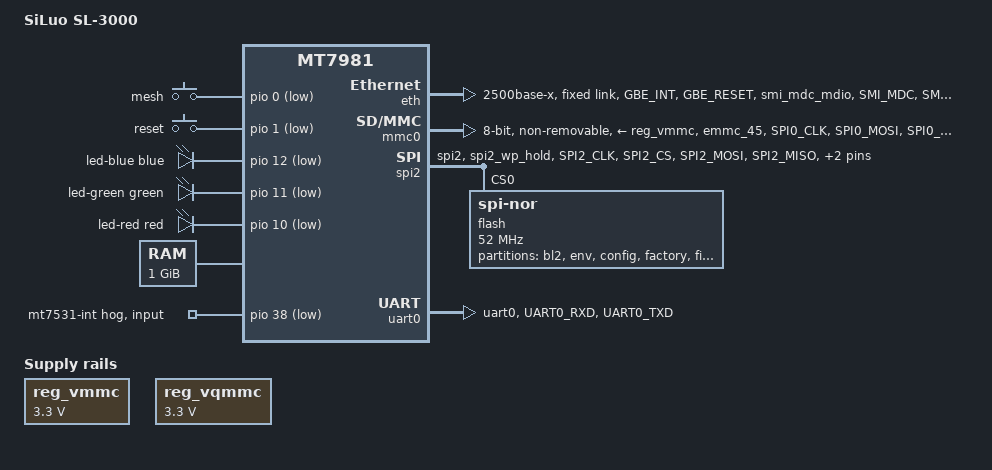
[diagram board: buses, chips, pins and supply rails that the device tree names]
// SPDX-License-Identifier: GPL-2.0-or-later OR MIT

/dts-v1/;

#include <dt-bindings/gpio/gpio.h>
#include <dt-bindings/input/input.h>
#include <dt-bindings/leds/common.h>
#include <dt-bindings/pinctrl/mt65xx.h>

#include "mt7981.dtsi"

/ {
	compatible = "siluo,sl-3000", "mediatek,mt7981";
	model = "SiLuo SL-3000";

	aliases {
		serial0 = &uart0;
	};

	chosen {
		stdout-path = "serial0:115200n8";
		tick-timer = &timer0;
	};

	gpio-keys {
		compatible = "gpio-keys";
		pinctrl-names = "default";
		pinctrl-0 = <&keys_pins>;

		button-mesh {
			label = "mesh";
			linux,code = <KEY_WPS_BUTTON>;
			gpios = <&pio 0 GPIO_ACTIVE_LOW>;
		};

		button-reset {
			label = "reset";
			linux,code = <KEY_RESTART>;
			gpios = <&pio 1 GPIO_ACTIVE_LOW>;
		};
	};

	gpio-leds {
		compatible = "gpio-leds";
		pinctrl-names = "default";
		pinctrl-0 = <&leds_pins>;

		led-blue {
			color = <LED_COLOR_ID_BLUE>;
			function = LED_FUNCTION_STATUS;
			gpios = <&pio 12 GPIO_ACTIVE_LOW>;
			default-state = "off";
		};

		led-green {
			color = <LED_COLOR_ID_GREEN>;
			function = LED_FUNCTION_STATUS;
			gpios = <&pio 11 GPIO_ACTIVE_LOW>;
			default-state = "on";
		};

		led-red {
			color = <LED_COLOR_ID_RED>;
			function = LED_FUNCTION_STATUS;
			gpios = <&pio 10 GPIO_ACTIVE_LOW>;
			default-state = "off";
		};
	};

	memory@40000000 {
		reg = <0x40000000 0x40000000>;
		device_type = "memory";
	};

	options {
		u-boot {
			compatible = "u-boot,config";
			boot-btn1 = "mesh";
			boot-btn2 = "reset";
			boot-led1 = "green:status";
			boot-led2 = "red:status";
			bootcmd_1-1 = "tftp_boot_ik";
			bootcmd_1-2 = "tftp_update_fw";
			bootcmd_1-3 = "switch_console";
			bootcmd_1-4 = "env init";
			bootcmd_2-1 = "tftp_boot_ik";
			bootcmd_2-2 = "tftp_update_fw";
			bootcmd_2-3 = "switch_console";
			bootcmd_2-4 = "switch_bootdev";
		};
	};

	reg_vmmc: regulator-vmmc {
		compatible = "regulator-fixed";
		regulator-always-on;
		regulator-max-microvolt = <3300000>;
		regulator-min-microvolt = <3300000>;
		regulator-name = "mmc_power";
	};

	reg_vqmmc: regulator-vqmmc {
		compatible = "regulator-fixed";
		regulator-always-on;
		regulator-max-microvolt = <3300000>;
		regulator-min-microvolt = <3300000>;
		regulator-name = "mmc_io";
	};

	reserved-memory {
		#address-cells = <1>;
		#size-cells = <1>;
		ranges;

		ramoops@42ff0000 {
			compatible = "ramoops";
			reg = <0x42ff0000 0x00010000>;
			console-size = <0x8000>;
			record-size = <0x2000>;
		};

		secmon@43000000 {
			reg = <0x43000000 0x00030000>;
			no-map;
		};
	};
};

&eth {
	mediatek,gmac-id = <0>;
	mediatek,switch = "mt7531";
	phy-mode = "2500base-x";
	pinctrl-names = "default";
	pinctrl-0 = <&gbe_pins>, <&mdio_pins>;
	reset-gpios = <&pio 39 GPIO_ACTIVE_HIGH>;
	status = "okay";

	fixed-link {
		speed = <2500>;
		full-duplex;
	};
};

&mmc0 {
	bus-width = <8>;
	cap-mmc-highspeed;
	max-frequency = <52000000>;
	no-1-8-v;
	no-sd;
	no-sdio;
	non-removable;
	pinctrl-names = "default";
	pinctrl-0 = <&mmc_pins>;
	vmmc-supply = <&reg_vmmc>;
	vqmmc-supply = <&reg_vqmmc>;
	status = "okay";
};

&pio {
	gbe_pins: gbe-pins {
		conf-int {
			bias-disable;
			input-enable;
			input-schmitt-enable;
			drive-strength = <MTK_DRIVE_2mA>;
			pins = "GBE_INT";
		};

		conf-rst {
			bias-disable;
			output-enable;
			drive-strength = <MTK_DRIVE_4mA>;
			pins = "GBE_RESET";
		};
	};

	keys_pins: keys-pins {
		conf {
			bias-disable;
			input-enable;
			input-schmitt-enable;
			drive-strength = <MTK_DRIVE_2mA>;
			pins = "GPIO_RESET", "GPIO_WPS";
		};
	};

	leds_pins: leds-pins {
		conf {
			bias-disable;
			output-enable;
			drive-strength = <MTK_DRIVE_4mA>;
			pins = "WO_JTAG_JTDI", "WO_JTAG_JTMS", "WO_JTAG_JTCLK";
		};
	};

	mdio_pins: mdc-mdio-pins {
		mux {
			function = "eth";
			groups = "smi_mdc_mdio";
		};

		conf-clk {
			bias-disable;
			output-enable;
			drive-strength = <MTK_DRIVE_4mA>;
			pins = "SMI_MDC";
		};

		conf-io {
			bias-disable;
			input-enable;
			drive-strength = <MTK_DRIVE_4mA>;
			pins = "SMI_MDIO";
		};
	};

	mmc_pins: mmc-pins {
		mux {
			function = "flash";
			groups = "emmc_45";
		};

		conf-cmd-dat {
			input-enable;
			bias-pull-up = <MTK_PUPD_SET_R1R0_01>;
			drive-strength = <MTK_DRIVE_4mA>;
			pins = "SPI0_CLK", "SPI0_MOSI", "SPI0_MISO",
			       "SPI0_CS",  "SPI0_HOLD", "SPI0_WP",
			       "SPI1_CLK", "SPI1_MOSI", "SPI1_MISO";
		};

		conf-clk {
			output-enable;
			bias-pull-down = <MTK_PUPD_SET_R1R0_10>;
			drive-strength = <MTK_DRIVE_8mA>;
			pins = "SPI1_CS";
		};

		conf-rst {
			bias-disable;
			output-enable;
			drive-strength = <MTK_DRIVE_4mA>;
			pins = "PWM0";
		};
	};

	spi2_pins: spi2-pins {
		mux {
			function = "spi";
			groups = "spi2", "spi2_wp_hold";
		};

		conf-clk-cs {
			bias-disable;
			output-enable;
			drive-strength = <MTK_DRIVE_4mA>;
			pins = "SPI2_CLK", "SPI2_CS";
		};

		conf-dat {
			bias-disable;
			input-enable;
			drive-strength = <MTK_DRIVE_4mA>;
			pins = "SPI2_MOSI", "SPI2_MISO", "SPI2_HOLD", "SPI2_WP";
		};
	};

	uart0_pins: uart0-pins {
		mux {
			function = "uart";
			groups = "uart0";
		};

		conf-rx {
			bias-disable;
			input-enable;
			input-schmitt-enable;
			drive-strength = <MTK_DRIVE_2mA>;
			pins = "UART0_RXD";
		};

		conf-tx {
			bias-disable;
			output-enable;
			drive-strength = <MTK_DRIVE_4mA>;
			pins = "UART0_TXD";
		};
	};

	mt7531-int {
		gpio-hog;
		gpios = <38 GPIO_ACTIVE_LOW>;
		input;
	};
};

&spi2 {
	compatible = "mediatek,spi-ipm";
	#address-cells = <1>;
	#size-cells = <0>;
	clocks = <&topckgen CLK_TOP_CB_M_D2>,
		 <&topckgen CLK_TOP_SPI_SEL>,
		 <&infracfg CLK_INFRA_SPI2_CK>,
		 <&infracfg CLK_INFRA_SPI2_HCK_CK>;
	clock-names = "parent-clk", "sel-clk", "spi-clk", "hclk";
	pinctrl-names = "default";
	pinctrl-0 = <&spi2_pins>;
	status = "okay";

	flash@0 {
		compatible = "jedec,spi-nor";
		reg = <0>;
		m25p,fast-read;
		spi-max-frequency = <52000000>;
		spi-rx-bus-width = <4>;
		spi-tx-bus-width = <4>;

		partitions {
			compatible = "fixed-partitions";
			#address-cells = <1>;
			#size-cells = <1>;

			partition@0 {
				label = "bl2";
				reg = <0x0000000 0x00f0000>;
			};

			partition@f0000 {
				label = "env";
				reg = <0x00f0000 0x0010000>;
			};

			partition@100000 {
				label = "config";
				reg = <0x0100000 0x0080000>;
			};

			partition@180000 {
				label = "factory";
				reg = <0x0180000 0x0200000>;
			};

			partition@380000 {
				label = "fip";
				reg = <0x0380000 0x0200000>;
			};

			partition@580000 {
				label = "firmware";
				reg = <0x0580000 0x1900000>;
			};

			partition@1e80000 {
				label = "product";
				reg = <0x1e80000 0x0020000>;
			};

			partition@1ea0000 {
				label = "custom";
				reg = <0x1ea0000 0x0160000>;
			};
		};
	};
};

&u2port0 {
	status = "disabled";
};

&u3port0 {
	status = "disabled";
};

&uart0 {
	pinctrl-names = "default";
	pinctrl-0 = <&uart0_pins>;
	status = "okay";
};

&usbtphy {
	status = "disabled";
};

&xhci {
	/delete-property/ mediatek,u3p-dis-msk;
	status = "disabled";
};
